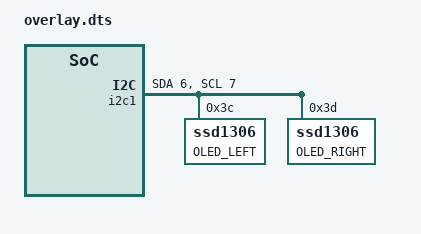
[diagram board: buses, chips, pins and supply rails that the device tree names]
&i2c1 {
    compatible = "nordic,nrf-twim";
    status = "okay";
    sda-pin = <6>;   // Adjust if needed
    scl-pin = <7>;   // Adjust if needed

    oled_left: oled_left@3C {
        compatible = "ssd1306";
        reg = <0x3C>;
        label = "OLED_LEFT";
    };

    oled_right: oled_right@3D {
        compatible = "ssd1306";
        reg = <0x3D>;
        label = "OLED_RIGHT";
    };
};
